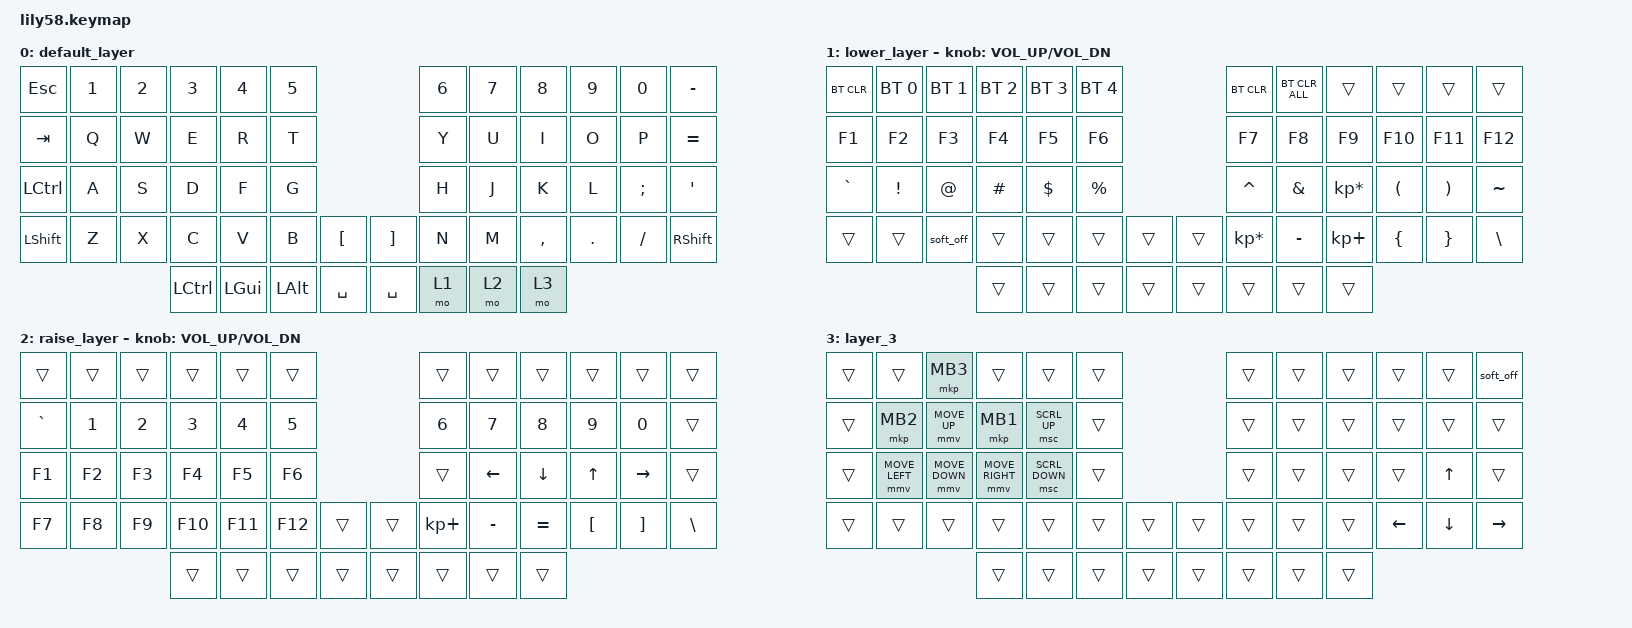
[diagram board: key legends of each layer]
/*
 * Copyright (c) 2020 The ZMK Contributors
 *
 * SPDX-License-Identifier: MIT
 */

#include <behaviors.dtsi>
#include <dt-bindings/zmk/bt.h>
#include <dt-bindings/zmk/keys.h>
#include <dt-bindings/zmk/pointing.h>

&soft_off {
    hold-time-ms = <3000>; // Only turn off it the key is held for 5 seconds or longer.
};

&soft_off { /delete-property/ split-peripheral-off-on-press; };

/ {
    combos {
        compatible = "zmk,combos";

        Backspace {
            bindings = <&kp BACKSPACE>;
            key-positions = <11 10>;
            timeout-ms = <30>;
            slow-release;
            layers = <0>;
        };

        enter {
            bindings = <&kp ENTER>;
            key-positions = <23 22>;
        };
    };

    keymap {
        compatible = "zmk,keymap";

        default_layer {
            // ------------------------------------------------------------------------------------------------------------
            // |  ESC  |  1  |  2  |  3   |  4   |  5   |                   |  6   |  7    |  8    |  9   |   0   |   `   |
            // |  TAB  |  Q  |  W  |  E   |  R   |  T   |                   |  Y   |  U    |  I    |  O   |   P   |   -   |
            // |  CTRL |  A  |  S  |  D   |  F   |  G   |                   |  H   |  J    |  K    |  L   |   ;   |   '   |
            // | SHIFT |  Z  |  X  |  C   |  V   |  B   |   "["  |  |  "]"  |  N   |  M    |  ,    |  .   |   /   | SHIFT |
            //                     | ALT  | GUI  | LOWER|  ENTER |  | SPACE | RAISE| BSPC  | GUI   |

            bindings = <
&kp ESC    &kp N1  &kp N2  &kp N3            &kp N4    &kp N5                                &kp N6  &kp N7  &kp N8     &kp N9   &kp N0    &kp MINUS
&kp TAB    &kp Q   &kp W   &kp E             &kp R     &kp T                                 &kp Y   &kp U   &kp I      &kp O    &kp P     &kp EQUAL
&kp LCTRL  &kp A   &kp S   &kp D             &kp F     &kp G                                 &kp H   &kp J   &kp K      &kp L    &kp SEMI  &kp SQT
&kp LSHFT  &kp Z   &kp X   &kp C             &kp V     &kp B         &kp LBKT     &kp RBKT   &kp N   &kp M   &kp COMMA  &kp DOT  &kp FSLH  &kp RSHFT
                           &kp LEFT_CONTROL  &kp LGUI  &kp LEFT_ALT  &kp SPACE    &kp SPACE  &mo 1   &mo 2   &mo 3
            >;
        };

        lower_layer {
            // ------------------------------------------------------------------------------------------------------------
            // | BTCLR | BT1 | BT2 |  BT3 |  BT4 |  BT5 |                   |      |       |       |      |       |       |
            // |  F1   |  F2 |  F3 |  F4  |  F5  |  F6  |                   |  F7  |  F8   |  F9   |  F10 |  F11  |  F12  |
            // |   `   |  !  |  @  |  #   |  $   |  %   |                   |  ^   |  &    |  *    |  (   |   )   |   ~   |
            // |       |     |     |      |      |      |        |  |       |      |  _    |  +    |  {   |   }   |  "|"  |
            //                     |      |      |      |        |  |       |      |       |       |

            bindings = <
&bt BT_CLR  &bt BT_SEL 0  &bt BT_SEL 1  &bt BT_SEL 2  &bt BT_SEL 3  &bt BT_SEL 4                    &bt BT_CLR       &bt BT_CLR_ALL  &trans           &trans    &trans    &trans
&kp F1      &kp F2        &kp F3        &kp F4        &kp F5        &kp F6                          &kp F7           &kp F8          &kp F9           &kp F10   &kp F11   &kp F12
&kp GRAVE   &kp EXCL      &kp AT        &kp HASH      &kp DOLLAR    &kp PRCNT                       &kp CARET        &kp AMPS        &kp KP_MULTIPLY  &kp LPAR  &kp RPAR  &kp TILDE
&trans      &trans        &soft_off     &trans        &trans        &trans        &trans    &trans  &kp KP_MULTIPLY  &kp MINUS       &kp KP_PLUS      &kp LBRC  &kp RBRC  &kp BACKSLASH
                                        &trans        &trans        &trans        &trans    &trans  &trans           &trans          &trans
            >;

            sensor-bindings = <&inc_dec_kp C_VOL_UP C_VOL_DN>;
        };

        raise_layer {
            // ------------------------------------------------------------------------------------------------------------
            // |       |     |     |      |      |      |                   |      |       |       |      |       |       |
            // |   `   |  1  |  2  |  3   |  4   |  5   |                   |  6   |   7   |   8   |  9   |   0   |       |
            // |   F1  |  F2 |  F3 |  F4  |  F5  |  F6  |                   |      |   <-  |   v   |  ^   |  ->   |       |
            // |   F7  |  F8 |  F9 |  F10 |  F11 |  F12 |        |  |       |  +   |   -   |   =   |  [   |   ]   |   \   |
            //                     |      |      |      |        |  |       |      |       |       |

            bindings = <
&trans     &trans  &trans  &trans   &trans   &trans                     &trans       &trans     &trans     &trans    &trans     &trans
&kp GRAVE  &kp N1  &kp N2  &kp N3   &kp N4   &kp N5                     &kp N6       &kp N7     &kp N8     &kp N9    &kp N0     &trans
&kp F1     &kp F2  &kp F3  &kp F4   &kp F5   &kp F6                     &trans       &kp LEFT   &kp DOWN   &kp UP    &kp RIGHT  &trans
&kp F7     &kp F8  &kp F9  &kp F10  &kp F11  &kp F12  &trans    &trans  &kp KP_PLUS  &kp MINUS  &kp EQUAL  &kp LBKT  &kp RBKT   &kp BSLH
                           &trans   &trans   &trans   &trans    &trans  &trans       &trans     &trans
            >;

            sensor-bindings = <&inc_dec_kp C_VOL_UP C_VOL_DN>;
        };

        layer_3 {
            bindings = <
&trans  &trans          &mkp MB3        &trans           &trans          &trans                    &trans  &trans  &trans  &trans    &trans          &soft_off
&trans  &mkp MB2        &mmv MOVE_UP    &mkp MB1         &msc SCRL_UP    &trans                    &trans  &trans  &trans  &trans    &trans          &trans
&trans  &mmv MOVE_LEFT  &mmv MOVE_DOWN  &mmv MOVE_RIGHT  &msc SCRL_DOWN  &trans                    &trans  &trans  &trans  &trans    &kp UP_ARROW    &trans
&trans  &trans          &trans          &trans           &trans          &trans  &trans    &trans  &trans  &trans  &trans  &kp LEFT  &kp DOWN_ARROW  &kp RIGHT
                                        &trans           &trans          &trans  &trans    &trans  &trans  &trans  &trans
            >;
        };
    };
};
